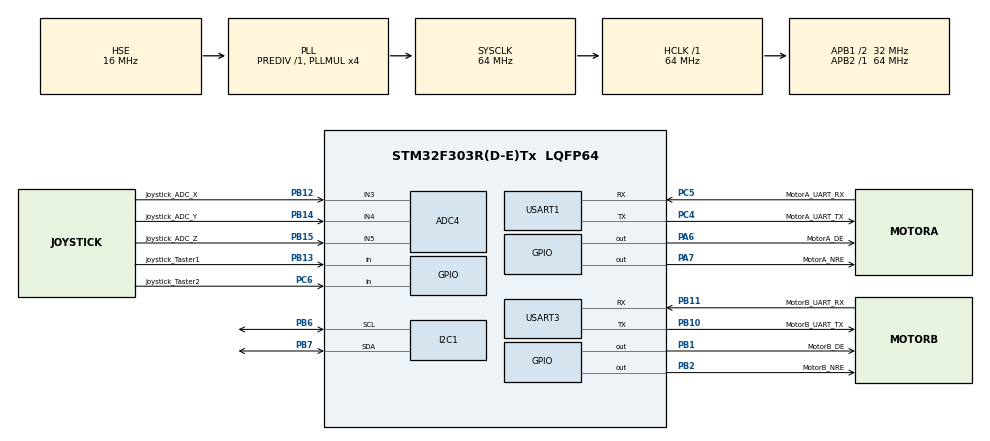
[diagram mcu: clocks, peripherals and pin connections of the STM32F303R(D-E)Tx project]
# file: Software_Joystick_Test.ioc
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ADC4.Channel-0\#ChannelRegularConversion=ADC_CHANNEL_3
ADC4.Channel-1\#ChannelRegularConversion=ADC_CHANNEL_4
ADC4.Channel-2\#ChannelRegularConversion=ADC_CHANNEL_5
ADC4.ContinuousConvMode=ENABLE
ADC4.DMAContinuousRequests=ENABLE
ADC4.EOCSelection=ADC_EOC_SEQ_CONV
ADC4.EnableInjectedConversion=DISABLE
ADC4.NbrOfConversion=3
ADC4.NbrOfConversionFlag=1
ADC4.Offset-0\#ChannelRegularConversion=0
ADC4.Offset-1\#ChannelRegularConversion=0
ADC4.Offset-2\#ChannelRegularConversion=0
ADC4.OffsetNumber-0\#ChannelRegularConversion=ADC_OFFSET_NONE
ADC4.OffsetNumber-1\#ChannelRegularConversion=ADC_OFFSET_NONE
ADC4.OffsetNumber-2\#ChannelRegularConversion=ADC_OFFSET_NONE
ADC4.Rank-0\#ChannelRegularConversion=1
ADC4.Rank-1\#ChannelRegularConversion=2
ADC4.Rank-2\#ChannelRegularConversion=3
ADC4.SamplingTime-0\#ChannelRegularConversion=ADC_SAMPLETIME_61CYCLES_5
ADC4.SamplingTime-1\#ChannelRegularConversion=ADC_SAMPLETIME_61CYCLES_5
ADC4.SamplingTime-2\#ChannelRegularConversion=ADC_SAMPLETIME_61CYCLES_5
ADC4.SamplingTimeOPAMP-1\#ChannelRegularConversion=ADC_SAMPLETIME_61CYCLES_5
ADC4.SamplingTimeOPAMP-2\#ChannelRegularConversion=ADC_SAMPLETIME_61CYCLES_5
Dma.ADC4.0.Direction=DMA_PERIPH_TO_MEMORY
Dma.ADC4.0.Instance=DMA2_Channel2
Dma.ADC4.0.MemDataAlignment=DMA_MDATAALIGN_HALFWORD
Dma.ADC4.0.MemInc=DMA_MINC_ENABLE
Dma.ADC4.0.Mode=DMA_CIRCULAR
Dma.ADC4.0.PeriphDataAlignment=DMA_PDATAALIGN_HALFWORD
Dma.ADC4.0.PeriphInc=DMA_PINC_DISABLE
Dma.ADC4.0.Priority=DMA_PRIORITY_LOW
Dma.Request0=ADC4
Mcu.Family=STM32F3
Mcu.Name=STM32F303R(D-E)Tx
Mcu.Package=LQFP64
NVIC.DMA2_Channel2_IRQn=true\:0\:0\:false\:false\:true\:false\:true\:true
NVIC.PriorityGroup=NVIC_PRIORITYGROUP_4
NVIC.USART1_IRQn=true\:0\:0\:false\:false\:true\:true\:true\:true
NVIC.USART3_IRQn=true\:0\:0\:false\:false\:true\:true\:true\:true
PA13.Mode=Serial_Wire
PA13.Signal=SYS_JTMS-SWDIO
PA14.Mode=Serial_Wire
PA14.Signal=SYS_JTCK-SWCLK
PA6.GPIO_Label=MotorA_DE
PA6.Signal=GPIO_Output
PA7.GPIO_Label=MotorA_NRE
PA7.Signal=GPIO_Output
PB1.GPIO_Label=MotorB_DE
PB1.Signal=GPIO_Output
PB10.GPIO_Label=MotorB_UART_TX
PB10.Mode=Asynchronous
PB10.Signal=USART3_TX
PB11.GPIO_Label=MotorB_UART_RX
PB11.Mode=Asynchronous
PB11.Signal=USART3_RX
PB12.GPIO_Label=Joystick_ADC_X
PB12.Mode=IN3-Single-Ended
PB12.Signal=ADC4_IN3
PB13.GPIO_Label=Joystick_Taster1
PB13.GPIO_PuPd=GPIO_PULLUP
PB13.Signal=GPIO_Input
PB14.GPIO_Label=Joystick_ADC_Y
PB14.Mode=IN4-Single-Ended
PB14.Signal=ADC4_IN4
PB15.GPIO_Label=Joystick_ADC_Z
PB15.Mode=IN5-Single-Ended
PB15.Signal=ADC4_IN5
PB2.GPIO_Label=MotorB_NRE
PB2.Signal=GPIO_Output
PB6.Mode=I2C
PB6.Signal=I2C1_SCL
PB7.Mode=I2C
PB7.Signal=I2C1_SDA
PC4.GPIO_Label=MotorA_UART_TX
PC4.Mode=Asynchronous
PC4.Signal=USART1_TX
PC5.GPIO_Label=MotorA_UART_RX
PC5.Mode=Asynchronous
PC5.Signal=USART1_RX
PC6.GPIO_Label=Joystick_Taster2
PC6.GPIO_PuPd=GPIO_PULLUP
PC6.Signal=GPIO_Input
PF0-OSC_IN.Mode=HSE-External-Oscillator
PF0-OSC_IN.Signal=RCC_OSC_IN
PF1-OSC_OUT.Mode=HSE-External-Oscillator
PF1-OSC_OUT.Signal=RCC_OSC_OUT
ProjectManager.HeapSize=0x200
ProjectManager.StackSize=0x400
ProjectManager.TargetToolchain=STM32CubeIDE
RCC.AHBFreq_Value=64000000
RCC.APB1CLKDivider=RCC_HCLK_DIV2
RCC.APB1Freq_Value=32000000
RCC.APB1TimFreq_Value=64000000
RCC.APB2Freq_Value=64000000
RCC.APB2TimFreq_Value=64000000
RCC.CortexFreq_Value=64000000
RCC.HCLKFreq_Value=64000000
RCC.HSE_VALUE=16000000
RCC.HSI_VALUE=8000000
RCC.LSE_VALUE=32768
RCC.PLLMUL=RCC_PLL_MUL4
RCC.PLLSourceVirtual=RCC_PLLSOURCE_HSE
RCC.SYSCLKFreq_VALUE=64000000
RCC.SYSCLKSourceVirtual=RCC_SYSCLKSOURCE_PLLCLK
RCC.USBFreq_Value=64000000
USART1.VirtualMode-Asynchronous=VM_ASYNC
USART3.VirtualMode-Asynchronous=VM_ASYNC
board=custom

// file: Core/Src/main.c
/* USER CODE BEGIN Header */
/**
  ******************************************************************************
  * @file           : main.c
  * @brief          : Main program body
  ******************************************************************************
  * @attention
  *
  * Copyright (c) 2026 STMicroelectronics.
  * All rights reserved.
  *
  * This software is licensed under terms that can be found in the LICENSE file
  * in the root directory of this software component.
  * If no LICENSE file comes with this software, it is provided AS-IS.
  *
  ******************************************************************************
  */
/* USER CODE END Header */
#include "main.h"
#include "adc.h"
#include "dma.h"
#include "i2c.h"
#include "usart.h"
#include "gpio.h"

/* USER CODE BEGIN PD */

/* ADC-Grenzwerte */
#define ADC_MIN_VALUE           0U
#define ADC_CENTER_VALUE        1961U
#define ADC_MAX_VALUE           3921U

/* Totzone im normierten Bereich */
#define JOYSTICK_DEAD_ZONE      5

/* Motorwerte */
#define MOTOR_MIN_POWER         (-127)
#define MOTOR_MAX_POWER         127

/* UART-Protokoll */
#define MOTOR_ADDRESS           0xC5U
#define MOTOR_POWER_COMMAND     0x25U
#define MOTOR_STOP_COMMAND      0x26U

#define MOTOR_FRAME_SIZE        5U

/* Sendeintervall */
#define MOTOR_SEND_PERIOD_MS    30U
#define UART_SEND_TIMEOUT_MS    10U

/* USER CODE END PD */

/* USER CODE BEGIN PV */

volatile uint32_t current_time = 0U;
volatile uint32_t main_loop_counter = 0U;

/*
 * ADC-DMA-Puffer:
 *
 * adc_raw[0] = X-Achse
 * adc_raw[1] = Y-Achse
 * adc_raw[2] = Z-Achse
 */
volatile uint16_t adc_raw[3] =
{
    ADC_CENTER_VALUE,
    ADC_CENTER_VALUE,
    ADC_CENTER_VALUE
};

/*
 * Normierte Joystickwerte:
 * -127 bis +127
 */
volatile int16_t joystick_x = 0;
volatile int16_t joystick_y = 0;
volatile int16_t joystick_z = 0;

/*
 * Berechnete Motorwerte:
 * -127 bis +127
 */
volatile int16_t motor_value_A = 0;
volatile int16_t motor_value_B = 0;

/*
 * Zuletzt gesendete UART-Frames.
 * Diese Arrays können ebenfalls in Live Expressions
 * betrachtet werden.
 */
uint8_t tx_frame_A[MOTOR_FRAME_SIZE] = {0U};
uint8_t tx_frame_B[MOTOR_FRAME_SIZE] = {0U};

/*
 * Test- und Diagnosevariablen.
 */
volatile uint32_t motor_send_counter = 0U;
volatile uint32_t uart_error_counter_A = 0U;
volatile uint32_t uart_error_counter_B = 0U;

static uint32_t last_motor_send_time = 0U;

/* USER CODE END PV */

void SystemClock_Config(void);
/* USER CODE BEGIN PFP */

static int16_t scale_adc_to_motor(uint16_t adc_value);

static void update_joystick_values(void);
static void calculate_motor_values(void);

static uint8_t calculate_checksum(
    uint8_t byte_0,
    uint8_t byte_1,
    uint8_t byte_2,
    uint8_t byte_3);

static void build_frame_A(void);
static void build_frame_B(void);

static void send_frame_A(void);
static void send_frame_B(void);

/* USER CODE END PFP */

/* USER CODE BEGIN 0 */

static int16_t scale_adc_to_motor(uint16_t adc_value)
{
    int32_t adc;
    int32_t adc_min;
    int32_t adc_center;
    int32_t adc_max;
    int32_t result;

    adc        = (int32_t)adc_value;
    adc_min    = (int32_t)ADC_MIN_VALUE;
    adc_center = (int32_t)ADC_CENTER_VALUE;
    adc_max    = (int32_t)ADC_MAX_VALUE;

    /*
     * Untere Hälfte:
     * ADC_MIN_VALUE bis ADC_CENTER_VALUE
     * wird auf -127 bis 0 skaliert.
     */
    if (adc < adc_center)
    {
        if (adc <= adc_min)
        {
            result = MOTOR_MIN_POWER;
        }
        else
        {
            result =
                -((adc_center - adc) * MOTOR_MAX_POWER) /
                 (adc_center - adc_min);
        }
    }

    /*
     * Obere Hälfte:
     * ADC_CENTER_VALUE bis ADC_MAX_VALUE
     * wird auf 0 bis +127 skaliert.
     */
    else
    {
        if (adc >= adc_max)
        {
            result = MOTOR_MAX_POWER;
        }
        else
        {
            result =
                ((adc - adc_center) * MOTOR_MAX_POWER) /
                (adc_max - adc_center);
        }
    }

    /*
     * Kleine Werte um die Mittelstellung auf null setzen.
     * Die Grenzen -5 und +5 werden ebenfalls eingeschlossen.
     */
    if ((result >= -JOYSTICK_DEAD_ZONE) &&
        (result <= JOYSTICK_DEAD_ZONE))
    {
        result = 0;
    }

    return (int16_t)result;
}

static void update_joystick_values(void)
{
    joystick_x = scale_adc_to_motor(adc_raw[0]);
    joystick_y = scale_adc_to_motor(adc_raw[1]);
    joystick_z = scale_adc_to_motor(adc_raw[2]);
}

static void calculate_motor_values(void)
{
    int16_t absolute_x;
    int16_t reduced_power;

    /*
     * Betrag der Lenkauslenkung bestimmen.
     */
    if (joystick_x < 0)
    {
        absolute_x = -joystick_x;
    }
    else
    {
        absolute_x = joystick_x;
    }

    if (absolute_x > MOTOR_MAX_POWER)
    {
        absolute_x = MOTOR_MAX_POWER;
    }

    /*
     * Reduzierte Leistung berechnen:
     *
     * X =   0: 100 Prozent des Schubs
     * X =  64: ungefähr 50 Prozent des Schubs
     * X = 127: 0 Prozent des Schubs
     */
    reduced_power =
        (int16_t)(
            ((int32_t)joystick_y *
             (MOTOR_MAX_POWER - absolute_x)) /
            MOTOR_MAX_POWER);

    /*
     * Kein Vorwärts- oder Rückwärtsschub:
     * Beide Motoren stehen, unabhängig von X.
     */
    if (joystick_y == 0)
    {
        motor_value_A = 0;
        motor_value_B = 0;
    }

    /*
     * Quadrant: vorwärts und rechts
     *
     * Motor A ist außen und behält den Schub.
     * Motor B ist innen und wird reduziert.
     */
    else if ((joystick_y > 0) &&
             (joystick_x >= 0))
    {
        motor_value_A = joystick_y;
        motor_value_B = reduced_power;
    }

    /*
     * Quadrant: vorwärts und links
     *
     * Motor A ist innen und wird reduziert.
     * Motor B ist außen und behält den Schub.
     */
    else if ((joystick_y > 0) &&
             (joystick_x < 0))
    {
        motor_value_A = reduced_power;
        motor_value_B = joystick_y;
    }

    /*
     * Quadrant: rückwärts und rechts
     *
     * Beide Werte sind negativ.
     * Motor A wird betragsmäßig reduziert.
     */
    else if ((joystick_y < 0) &&
             (joystick_x >= 0))
    {
        motor_value_A = reduced_power;
        motor_value_B = joystick_y;
    }

    /*
     * Quadrant: rückwärts und links
     *
     * Beide Werte sind negativ.
     * Motor B wird betragsmäßig reduziert.
     */
    else
    {
        motor_value_A = joystick_y;
        motor_value_B = reduced_power;
    }
}

static uint8_t calculate_checksum(
    uint8_t byte_0,
    uint8_t byte_1,
    uint8_t byte_2,
    uint8_t byte_3)
{
    uint8_t checksum;

    checksum = byte_0;
    checksum ^= byte_1;
    checksum ^= byte_2;
    checksum ^= byte_3;

    return checksum & 0x7FU;
}

static void build_frame_A(void)
{
    uint8_t direction;
    uint8_t power;

    tx_frame_A[0] = MOTOR_ADDRESS;

    if (motor_value_A == 0)
    {
        tx_frame_A[1] = MOTOR_STOP_COMMAND;
        tx_frame_A[2] = 0U;
        tx_frame_A[3] = 0U;
    }
    else
    {
        if (motor_value_A > 0)
        {
            direction = 1U;
            power = (uint8_t)motor_value_A;
        }
        else
        {
            direction = 0U;
            power = (uint8_t)(-motor_value_A);
        }

        tx_frame_A[1] = MOTOR_POWER_COMMAND;
        tx_frame_A[2] = direction;
        tx_frame_A[3] = power;
    }

    tx_frame_A[4] = calculate_checksum(
        tx_frame_A[0],
        tx_frame_A[1],
        tx_frame_A[2],
        tx_frame_A[3]);
}

static void build_frame_B(void)
{
    uint8_t direction;
    uint8_t power;

    tx_frame_B[0] = MOTOR_ADDRESS;

    if (motor_value_B == 0)
    {
        tx_frame_B[1] = MOTOR_STOP_COMMAND;
        tx_frame_B[2] = 0U;
        tx_frame_B[3] = 0U;
    }
    else
    {
        if (motor_value_B > 0)
        {
            direction = 1U;
            power = (uint8_t)motor_value_B;
        }
        else
        {
            direction = 0U;
            power = (uint8_t)(-motor_value_B);
        }

        tx_frame_B[1] = MOTOR_POWER_COMMAND;
        tx_frame_B[2] = direction;
        tx_frame_B[3] = power;
    }

    tx_frame_B[4] = calculate_checksum(
        tx_frame_B[0],
        tx_frame_B[1],
        tx_frame_B[2],
        tx_frame_B[3]);
}

static void send_frame_A(void)
{
    HAL_StatusTypeDef uart_result;

    /*
     * RS485-Sendebetrieb aktivieren:
     *
     * DE  = High
     * /RE = High
     */
    HAL_GPIO_WritePin(
        MotorA_DE_GPIO_Port,
        MotorA_DE_Pin,
        GPIO_PIN_SET);

    HAL_GPIO_WritePin(
        MotorA_NRE_GPIO_Port,
        MotorA_NRE_Pin,
        GPIO_PIN_SET);

    uart_result = HAL_UART_Transmit(
        &huart1,
        tx_frame_A,
        MOTOR_FRAME_SIZE,
        UART_SEND_TIMEOUT_MS);

    /*
     * Wieder in den Empfangsbetrieb wechseln:
     *
     * DE  = Low
     * /RE = Low
     */
    HAL_GPIO_WritePin(
        MotorA_DE_GPIO_Port,
        MotorA_DE_Pin,
        GPIO_PIN_RESET);

    HAL_GPIO_WritePin(
        MotorA_NRE_GPIO_Port,
        MotorA_NRE_Pin,
        GPIO_PIN_RESET);

    if (uart_result != HAL_OK)
    {
        uart_error_counter_A++;
    }
}

static void send_frame_B(void)
{
    HAL_StatusTypeDef uart_result;

    HAL_GPIO_WritePin(
        MotorB_DE_GPIO_Port,
        MotorB_DE_Pin,
        GPIO_PIN_SET);

    HAL_GPIO_WritePin(
        MotorB_NRE_GPIO_Port,
        MotorB_NRE_Pin,
        GPIO_PIN_SET);

    uart_result = HAL_UART_Transmit(
        &huart3,
        tx_frame_B,
        MOTOR_FRAME_SIZE,
        UART_SEND_TIMEOUT_MS);

    HAL_GPIO_WritePin(
        MotorB_DE_GPIO_Port,
        MotorB_DE_Pin,
        GPIO_PIN_RESET);

    HAL_GPIO_WritePin(
        MotorB_NRE_GPIO_Port,
        MotorB_NRE_Pin,
        GPIO_PIN_RESET);

    if (uart_result != HAL_OK)
    {
        uart_error_counter_B++;
    }
}

/* USER CODE END 0 */

int main(void)
{

  /* MCU Configuration--------------------------------------------------------*/

  /* Reset of all peripherals, Initializes the Flash interface and the Systick. */
  HAL_Init();

  /* Configure the system clock */
  SystemClock_Config();

  /* Initialize all configured peripherals */
  MX_GPIO_Init();
  MX_DMA_Init();
  MX_ADC4_Init();
  MX_USART1_UART_Init();
  MX_USART3_UART_Init();
  MX_I2C1_Init();
  /* USER CODE BEGIN 2 */

  /*
   * ADC vor dem Start kalibrieren.
   */
  if (HAL_ADCEx_Calibration_Start(
          &hadc4,
          ADC_SINGLE_ENDED) != HAL_OK)
  {
      Error_Handler();
  }

  /*
   * ADC4 mit zirkulärem DMA starten.
   */
  if (HAL_ADC_Start_DMA(
          &hadc4,
          (uint32_t *)(uintptr_t)adc_raw,
          3U) != HAL_OK)
  {
      Error_Handler();
  }

  /*
   * RS485 zunächst auf Empfang stellen.
   */
  HAL_GPIO_WritePin(
      MotorA_DE_GPIO_Port,
      MotorA_DE_Pin,
      GPIO_PIN_RESET);

  HAL_GPIO_WritePin(
      MotorA_NRE_GPIO_Port,
      MotorA_NRE_Pin,
      GPIO_PIN_RESET);

  HAL_GPIO_WritePin(
      MotorB_DE_GPIO_Port,
      MotorB_DE_Pin,
      GPIO_PIN_RESET);

  HAL_GPIO_WritePin(
      MotorB_NRE_GPIO_Port,
      MotorB_NRE_Pin,
      GPIO_PIN_RESET);

  last_motor_send_time = HAL_GetTick();

  /* USER CODE END 2 */

  /* Infinite loop */
  /* USER CODE BEGIN WHILE */
  while (1)
  {
	  main_loop_counter++;

      /*
       * Aktuelle DMA-Werte normieren.
       * Diese Berechnung läuft kontinuierlich.
       */
      update_joystick_values();

      /*
       * Motorwerte kontinuierlich berechnen.
       */
      calculate_motor_values();

      /*
       * Aktuelle Zeit erfassen.
       */
      current_time = HAL_GetTick();

      /*
       * Nur die UART-Übertragung findet alle 30 ms statt.
       */
      if ((uint32_t)(current_time - last_motor_send_time) >=
          MOTOR_SEND_PERIOD_MS)
      {
          last_motor_send_time = current_time;

          build_frame_A();
          build_frame_B();

          send_frame_A();
          send_frame_B();

          motor_send_counter++;
      }

      /* USER CODE END WHILE */

  }
}

void SystemClock_Config(void)
{
  RCC_OscInitTypeDef RCC_OscInitStruct = {0};
  RCC_ClkInitTypeDef RCC_ClkInitStruct = {0};
  RCC_PeriphCLKInitTypeDef PeriphClkInit = {0};

  /** Initializes the RCC Oscillators according to the specified parameters
  * in the RCC_OscInitTypeDef structure.
  */
  RCC_OscInitStruct.OscillatorType = RCC_OSCILLATORTYPE_HSI|RCC_OSCILLATORTYPE_HSE;
  RCC_OscInitStruct.HSEState = RCC_HSE_ON;
  RCC_OscInitStruct.HSIState = RCC_HSI_ON;
  RCC_OscInitStruct.HSICalibrationValue = RCC_HSICALIBRATION_DEFAULT;
  RCC_OscInitStruct.PLL.PLLState = RCC_PLL_ON;
  RCC_OscInitStruct.PLL.PLLSource = RCC_PLLSOURCE_HSE;
  RCC_OscInitStruct.PLL.PLLMUL = RCC_PLL_MUL4;
  RCC_OscInitStruct.PLL.PREDIV = RCC_PREDIV_DIV1;
  if (HAL_RCC_OscConfig(&RCC_OscInitStruct) != HAL_OK)
  {
    Error_Handler();
  }

  /** Initializes the CPU, AHB and APB buses clocks
  */
  RCC_ClkInitStruct.ClockType = RCC_CLOCKTYPE_HCLK|RCC_CLOCKTYPE_SYSCLK
                              |RCC_CLOCKTYPE_PCLK1|RCC_CLOCKTYPE_PCLK2;
  RCC_ClkInitStruct.SYSCLKSource = RCC_SYSCLKSOURCE_PLLCLK;
  RCC_ClkInitStruct.AHBCLKDivider = RCC_SYSCLK_DIV1;
  RCC_ClkInitStruct.APB1CLKDivider = RCC_HCLK_DIV2;
  RCC_ClkInitStruct.APB2CLKDivider = RCC_HCLK_DIV1;

  if (HAL_RCC_ClockConfig(&RCC_ClkInitStruct, FLASH_LATENCY_2) != HAL_OK)
  {
    Error_Handler();
  }
  PeriphClkInit.PeriphClockSelection = RCC_PERIPHCLK_USART1|RCC_PERIPHCLK_USART3
                              |RCC_PERIPHCLK_I2C1|RCC_PERIPHCLK_ADC34;
  PeriphClkInit.Usart1ClockSelection = RCC_USART1CLKSOURCE_PCLK2;
  PeriphClkInit.Usart3ClockSelection = RCC_USART3CLKSOURCE_PCLK1;
  PeriphClkInit.Adc34ClockSelection = RCC_ADC34PLLCLK_DIV1;
  PeriphClkInit.I2c1ClockSelection = RCC_I2C1CLKSOURCE_HSI;
  if (HAL_RCCEx_PeriphCLKConfig(&PeriphClkInit) != HAL_OK)
  {
    Error_Handler();
  }
}

void Error_Handler(void)
{
  __disable_irq();
  while (1)
  {
  }
}
